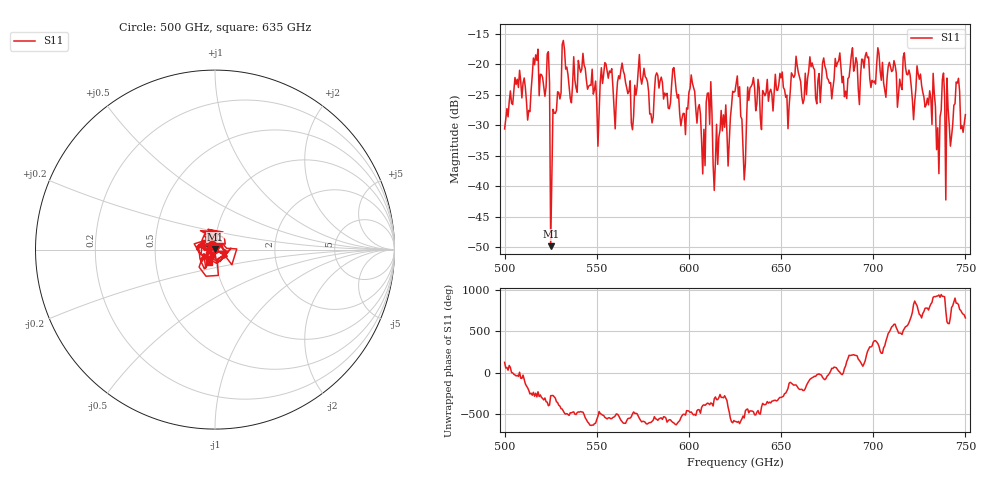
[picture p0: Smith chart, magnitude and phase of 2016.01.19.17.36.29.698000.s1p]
!Created with skrf (http://scikit-rf.org).
# GHz S RI R 50.0
!freq ReS11 ImS11
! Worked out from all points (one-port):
!   401 points, 500 GHz to 750 GHz, reference 50 ohm
!   lowest |S11| = -49.8 dB at 525 GHz (marker M1), VSWR 1.01, Z = 50.1 + j0.317 ohm
!   |S11| at or under -10 dB: start of sweep to end of sweep
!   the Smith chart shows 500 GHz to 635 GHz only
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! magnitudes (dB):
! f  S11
! 500 GHz  -30.6
! 506.9 GHz  -22.5
! 513.1 GHz  -27.6
! 516.9 GHz  -18.5
! 523.1 GHz  -18.3
! 525 GHz  -49.8
! 526.2 GHz  -27.4
! 531.2 GHz  -16.8
! 550 GHz  -26.4
! 562.5 GHz  -22.4
! 570 GHz  -28.5
! 574.4 GHz  -23.3
! 579.4 GHz  -28.1
! 593.8 GHz  -25.5
! 601.9 GHz  -23.1
! 607.5 GHz  -38.0
! 610.6 GHz  -24.7
! 614.4 GHz  -36.0
! 625 GHz  -24.4
! 630 GHz  -39.0
! 634.4 GHz  -23.2
! 656.2 GHz  -21.8
! 687.5 GHz  -20.4
! 718.8 GHz  -21.8
! 735 GHz  -30.4
! 737.5 GHz  -22.5
! 740.6 GHz  -27.3
! 750 GHz  -28.3
